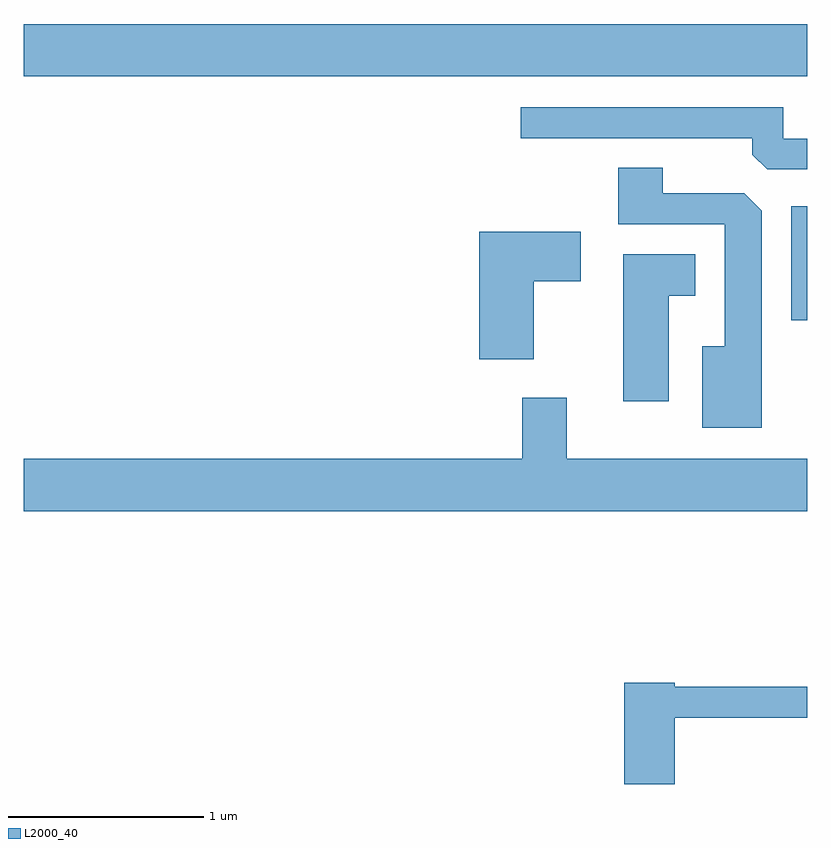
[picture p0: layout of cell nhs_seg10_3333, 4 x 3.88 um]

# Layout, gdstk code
import gdstk
lib = gdstk.Library(unit=1e-6, precision=1e-09)
def R(c, l, rs):  # rectangles x0, y0, x1, y1
    for r in rs: c.add(gdstk.rectangle(r[:2], r[2:], *l))
def P(c, l, *ps):  # polygons
    for p in ps: c.add(gdstk.Polygon(p, *l))
L2000_40 = (2000, 40)

nhs_seg10_3333 = lib.new_cell('nhs_seg10_3333')
R(nhs_seg10_3333, L2000_40, [(287.531,2114.891,287.611,2115.474), (283.611,2116.136,287.611,2116.404)])
P(nhs_seg10_3333, L2000_40, [(287.611,2115.819),(287.489,2115.819),(287.489,2115.979),(286.148,2115.979),(286.148,2115.821),(287.331,2115.821),(287.331,2115.737),(287.407,2115.661),(287.611,2115.661)],
  [(287.379,2115.449),(287.289,2115.539),(286.874,2115.539),(286.874,2115.669),(286.646,2115.669),(286.646,2115.381),(287.191,2115.381),(287.191,2114.759),(287.076,2114.759),(287.076,2114.341),(287.379,2114.341)],
  [(286.214,2115.091),(286.454,2115.091),(286.454,2115.344),(285.936,2115.344),(285.936,2114.691),(286.214,2114.691)],
  [(286.904,2115.016),(287.039,2115.016),(287.039,2115.229),(286.671,2115.229),(286.671,2114.476),(286.904,2114.476)],
  [(287.611,2114.184),(286.384,2114.184),(286.384,2114.494),(286.156,2114.494),(286.156,2114.184),(283.611,2114.184),(283.611,2113.916),(287.611,2113.916)],
  [(286.934,2112.861),(287.611,2112.861),(287.611,2113.019),(286.934,2113.019),(286.934,2113.039),(286.676,2113.039),(286.676,2112.522),(286.934,2112.522)])

lib.write_gds('nhs_seg10_3333.gds')
